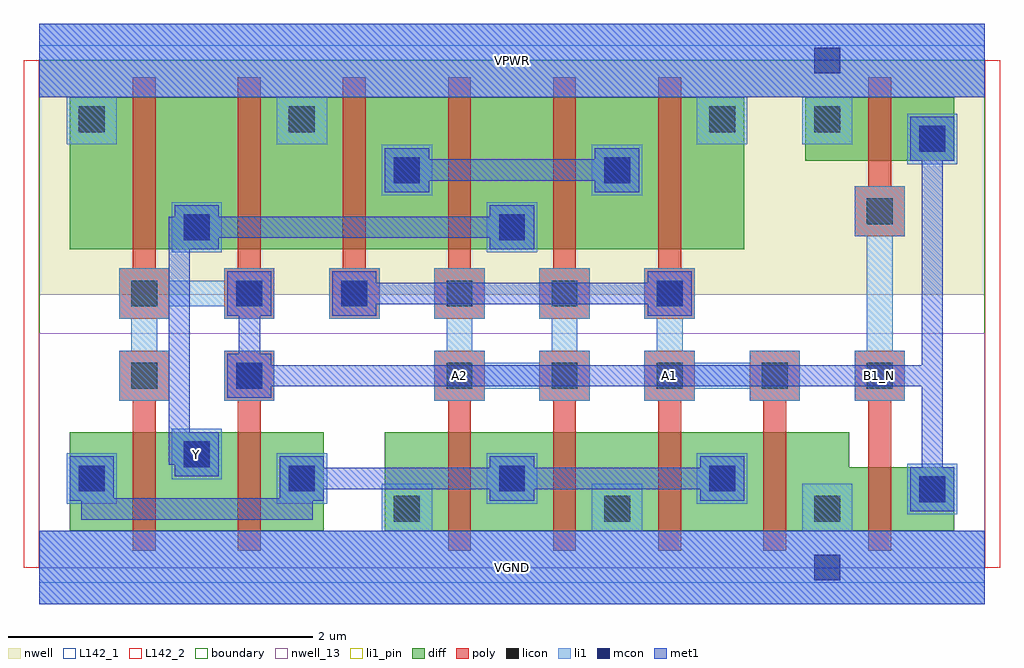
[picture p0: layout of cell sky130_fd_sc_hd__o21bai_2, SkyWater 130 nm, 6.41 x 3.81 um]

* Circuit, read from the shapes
.subckt sky130_fd_sc_hd__o21bai_2 A1 A2 B1_N VGND VPWR Y
XM1 Y n1 n2 VSUBS sky130_fd_pr__nfet_01v8 w=0.65 l=0.15 m=2
XM2 n2 A2 VGND VSUBS sky130_fd_pr__nfet_01v8 w=0.65 l=0.15 m=2
XM3 n2 A1 VGND VSUBS sky130_fd_pr__nfet_01v8 w=0.65 l=0.15 m=2
XM4 n1 B1_N VGND VSUBS sky130_fd_pr__nfet_01v8 w=0.42 l=0.15
XM5 Y n1 VPWR n3 sky130_fd_pr__pfet_01v8 w=1 l=0.15 m=2
XM6 n4 A1 VPWR n3 sky130_fd_pr__pfet_01v8 w=1 l=0.15 m=2
XM7 Y A2 n4 n3 sky130_fd_pr__pfet_01v8 w=1 l=0.15 m=2
XM8 n1 B1_N VPWR n3 sky130_fd_pr__pfet_01v8 w=0.42 l=0.15
.ends

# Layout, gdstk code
import gdstk
lib = gdstk.Library(unit=1e-6, precision=1e-09)
def R(c, l, rs):  # rectangles x0, y0, x1, y1
    for r in rs: c.add(gdstk.rectangle(r[:2], r[2:], *l))
def A(c, l, x, y, w, h, nx, ny, dx, dy):  # array of equal rectangles
    R(c, l, [(x+i*dx, y+j*dy, x+i*dx+w, y+j*dy+h) for i in range(nx) for j in range(ny)])
def P(c, l, *ps):  # polygons
    for p in ps: c.add(gdstk.Polygon(p, *l))
nwell_13 = (64, 13)
nwell = (64, 20)
diff = (65, 20)
poly = (66, 20)
licon = (66, 44)
li1_pin = (67, 16)
li1 = (67, 20)
mcon = (67, 44)
met1 = (68, 20)
L142_1 = (142, 1)
L142_2 = (142, 2)
boundary = (235, 4)

sky130_fd_sc_hd__o21bai_ = lib.new_cell('sky130_fd_sc_hd__o21bai_2')
R(sky130_fd_sc_hd__o21bai_, nwell_13, [(0,0,6.21,1.54)])
R(sky130_fd_sc_hd__o21bai_, nwell, [(0,1.79,6.21,3.33)])
A(sky130_fd_sc_hd__o21bai_, diff, 2.685, 0.24, 0.69, 0.65, 3, 1, 0.69, 0)
A(sky130_fd_sc_hd__o21bai_, diff, 0.615, 2.09, 0.69, 1, 5, 1, 0.69, 0)
R(sky130_fd_sc_hd__o21bai_, diff, [(0.2,0.24,1.87,0.89), (0.2,0.24,0.615,0.89), (0.615,0.24,1.305,0.89), (1.305,0.24,1.87,0.89), (2.27,0.24,2.685,0.89), (5.445,0.24,6.01,0.66), (0.2,2.09,4.63,3.09), (0.2,2.09,0.615,3.09), (4.065,2.09,4.63,3.09), (5.03,2.67,6.01,3.09), (5.03,2.67,5.445,3.09), (5.445,2.67,6.01,3.09)])
P(sky130_fd_sc_hd__o21bai_, diff, [(2.27,0.24),(2.27,0.89),(5.32,0.89),(5.32,0.66),(6.01,0.66),(6.01,0.24)],
  [(4.755,0.24),(4.755,0.89),(5.32,0.89),(5.32,0.66),(5.445,0.66),(5.445,0.24)])
P(sky130_fd_sc_hd__o21bai_, poly, [(5.445,0.11),(5.445,1.095),(5.355,1.095),(5.355,1.425),(5.685,1.425),(5.685,1.095),(5.595,1.095),(5.595,0.11)],
  [(5.355,2.175),(5.355,2.505),(5.445,2.505),(5.445,3.22),(5.595,3.22),(5.595,2.505),(5.685,2.505),(5.685,2.175)],
  [(2.685,0.11),(2.685,1.095),(2.595,1.095),(2.595,1.425),(2.925,1.425),(2.925,1.095),(2.835,1.095),(2.835,0.11)],
  [(3.375,0.11),(3.375,1.095),(3.285,1.095),(3.285,1.425),(3.615,1.425),(3.615,1.095),(3.525,1.095),(3.525,0.11)],
  [(2.595,1.635),(2.595,1.965),(2.685,1.965),(2.685,3.22),(2.835,3.22),(2.835,1.965),(2.925,1.965),(2.925,1.635)],
  [(3.285,1.635),(3.285,1.965),(3.375,1.965),(3.375,3.22),(3.525,3.22),(3.525,1.965),(3.615,1.965),(3.615,1.635)],
  [(4.065,0.11),(4.065,1.095),(3.975,1.095),(3.975,1.425),(4.305,1.425),(4.305,1.095),(4.215,1.095),(4.215,0.11)],
  [(4.755,0.11),(4.755,1.095),(4.665,1.095),(4.665,1.425),(4.995,1.425),(4.995,1.095),(4.905,1.095),(4.905,0.11)],
  [(1.905,1.635),(1.905,1.965),(1.995,1.965),(1.995,3.22),(2.145,3.22),(2.145,1.965),(2.235,1.965),(2.235,1.635)],
  [(3.975,1.635),(3.975,1.965),(4.065,1.965),(4.065,3.22),(4.215,3.22),(4.215,1.965),(4.305,1.965),(4.305,1.635)],
  [(0.615,0.11),(0.615,1.095),(0.525,1.095),(0.525,1.425),(0.855,1.425),(0.855,1.095),(0.765,1.095),(0.765,0.11)],
  [(1.305,0.11),(1.305,1.095),(1.215,1.095),(1.215,1.425),(1.545,1.425),(1.545,1.095),(1.455,1.095),(1.455,0.11)],
  [(0.525,1.635),(0.525,1.965),(0.615,1.965),(0.615,3.22),(0.765,3.22),(0.765,1.965),(0.855,1.965),(0.855,1.635)],
  [(1.215,1.635),(1.215,1.965),(1.305,1.965),(1.305,3.22),(1.455,3.22),(1.455,1.965),(1.545,1.965),(1.545,1.635)])
A(sky130_fd_sc_hd__o21bai_, licon, 2.33, 0.3, 0.17, 0.17, 3, 1, 1.38, 0)
A(sky130_fd_sc_hd__o21bai_, licon, 0.26, 0.5, 0.17, 0.17, 4, 1, 1.38, 0)
A(sky130_fd_sc_hd__o21bai_, licon, 2.675, 1.175, 0.17, 0.17, 5, 1, 0.69, 0)
A(sky130_fd_sc_hd__o21bai_, licon, 0.605, 1.715, 0.17, 0.17, 6, 1, 0.69, 0)
R(sky130_fd_sc_hd__o21bai_, licon, [(5.78,0.43,5.95,0.6), (0.95,0.66,1.12,0.83), (0.605,1.175,0.775,1.345), (1.295,1.175,1.465,1.345), (0.95,2.15,1.12,2.32), (3.02,2.15,3.19,2.32), (5.435,2.255,5.605,2.425), (2.33,2.525,2.5,2.695), (3.71,2.525,3.88,2.695), (5.78,2.73,5.95,2.9), (0.26,2.86,0.43,3.03), (1.64,2.86,1.81,3.03), (4.4,2.86,4.57,3.03), (5.09,2.86,5.26,3.03)])
R(sky130_fd_sc_hd__o21bai_, li1_pin, [(0,-0.24,6.21,0.24), (0.87,0.58,1.2,0.91), (0,3.09,6.21,3.57)])
P(sky130_fd_sc_hd__o21bai_, li1_pin, [(2.595,1.095),(2.595,1.425),(2.675,1.425),(2.675,1.635),(2.595,1.635),(2.595,1.965),(2.925,1.965),(2.925,1.635),(2.845,1.635),(2.845,1.425),(2.925,1.425),(2.925,1.345),(3.285,1.345),(3.285,1.425),(3.365,1.425),(3.365,1.635),(3.285,1.635),(3.285,1.965),(3.615,1.965),(3.615,1.635),(3.535,1.635),(3.535,1.425),(3.615,1.425),(3.615,1.095),(3.285,1.095),(3.285,1.175),(2.925,1.175),(2.925,1.095)],
  [(5.355,1.095),(5.355,1.425),(5.435,1.425),(5.435,2.175),(5.355,2.175),(5.355,2.505),(5.685,2.505),(5.685,2.175),(5.605,2.175),(5.605,1.425),(5.685,1.425),(5.685,1.095)],
  [(3.975,1.095),(3.975,1.425),(4.055,1.425),(4.055,1.635),(3.975,1.635),(3.975,1.965),(4.305,1.965),(4.305,1.635),(4.225,1.635),(4.225,1.425),(4.305,1.425),(4.305,1.345),(4.665,1.345),(4.665,1.425),(4.995,1.425),(4.995,1.095),(4.665,1.095),(4.665,1.175),(4.305,1.175),(4.305,1.095)])
A(sky130_fd_sc_hd__o21bai_, li1, 0.18, 0.42, 0.33, 0.33, 4, 1, 1.38, 0)
R(sky130_fd_sc_hd__o21bai_, li1, [(5.7,0.35,6.03,0.68), (0.87,0.58,1.2,0.91), (1.215,1.095,1.545,1.425), (1.905,1.635,2.235,1.965), (0.87,2.07,1.2,2.4), (2.94,2.07,3.27,2.4), (2.25,2.445,2.58,2.775), (3.63,2.445,3.96,2.775), (5.7,2.65,6.03,2.98)])
P(sky130_fd_sc_hd__o21bai_, li1, [(5.355,1.095),(5.355,1.425),(5.435,1.425),(5.435,2.175),(5.355,2.175),(5.355,2.505),(5.685,2.505),(5.685,2.175),(5.605,2.175),(5.605,1.425),(5.685,1.425),(5.685,1.095)],
  [(2.595,1.095),(2.595,1.425),(2.675,1.425),(2.675,1.635),(2.595,1.635),(2.595,1.965),(2.925,1.965),(2.925,1.635),(2.845,1.635),(2.845,1.425),(2.925,1.425),(2.925,1.345),(3.285,1.345),(3.285,1.425),(3.365,1.425),(3.365,1.635),(3.285,1.635),(3.285,1.965),(3.615,1.965),(3.615,1.635),(3.535,1.635),(3.535,1.425),(3.615,1.425),(3.615,1.095),(3.285,1.095),(3.285,1.175),(2.925,1.175),(2.925,1.095)],
  [(0.18,2.78),(0.18,3.09),(0,3.09),(0,3.57),(6.21,3.57),(6.21,3.09),(5.34,3.09),(5.34,2.78),(5.01,2.78),(5.01,3.09),(4.65,3.09),(4.65,2.78),(4.32,2.78),(4.32,3.09),(1.89,3.09),(1.89,2.78),(1.56,2.78),(1.56,3.09),(0.51,3.09),(0.51,2.78)],
  [(3.975,1.095),(3.975,1.425),(4.055,1.425),(4.055,1.635),(3.975,1.635),(3.975,1.965),(4.305,1.965),(4.305,1.635),(4.225,1.635),(4.225,1.425),(4.305,1.425),(4.305,1.345),(4.665,1.345),(4.665,1.425),(4.995,1.425),(4.995,1.095),(4.665,1.095),(4.665,1.175),(4.305,1.175),(4.305,1.095)],
  [(0,-0.24),(0,0.24),(2.25,0.24),(2.25,0.55),(2.58,0.55),(2.58,0.24),(3.63,0.24),(3.63,0.55),(3.96,0.55),(3.96,0.24),(5.01,0.24),(5.01,0.55),(5.34,0.55),(5.34,0.24),(6.21,0.24),(6.21,-0.24)],
  [(0.525,1.095),(0.525,1.425),(0.605,1.425),(0.605,1.635),(0.525,1.635),(0.525,1.965),(0.855,1.965),(0.855,1.885),(1.215,1.885),(1.215,1.965),(1.545,1.965),(1.545,1.635),(1.215,1.635),(1.215,1.715),(0.855,1.715),(0.855,1.635),(0.775,1.635),(0.775,1.425),(0.855,1.425),(0.855,1.095)])
A(sky130_fd_sc_hd__o21bai_, mcon, 0.26, 0.5, 0.17, 0.17, 4, 1, 1.38, 0)
R(sky130_fd_sc_hd__o21bai_, mcon, [(5.09,-0.085,5.26,0.085), (5.78,0.43,5.95,0.6), (0.95,0.66,1.12,0.83), (1.295,1.175,1.465,1.345), (1.295,1.715,1.465,1.885), (1.985,1.715,2.155,1.885), (4.055,1.715,4.225,1.885), (0.95,2.15,1.12,2.32), (3.02,2.15,3.19,2.32), (2.33,2.525,2.5,2.695), (3.71,2.525,3.88,2.695), (5.78,2.73,5.95,2.9), (5.09,3.245,5.26,3.415)])
R(sky130_fd_sc_hd__o21bai_, met1, [(0,-0.24,6.21,0.24), (0,3.09,6.21,3.57)])
P(sky130_fd_sc_hd__o21bai_, met1, [(0.89,0.6),(0.89,0.675),(0.85,0.675),(0.85,2.305),(0.89,2.305),(0.89,2.38),(1.18,2.38),(1.18,2.305),(2.96,2.305),(2.96,2.38),(3.25,2.38),(3.25,2.09),(2.96,2.09),(2.96,2.165),(1.18,2.165),(1.18,2.09),(0.99,2.09),(0.99,0.89),(1.18,0.89),(1.18,0.6)],
  [(1.925,1.655),(1.925,1.945),(2.215,1.945),(2.215,1.87),(3.995,1.87),(3.995,1.945),(4.285,1.945),(4.285,1.655),(3.995,1.655),(3.995,1.73),(2.215,1.73),(2.215,1.655)],
  [(2.27,2.465),(2.27,2.755),(2.56,2.755),(2.56,2.68),(3.65,2.68),(3.65,2.755),(3.94,2.755),(3.94,2.465),(3.65,2.465),(3.65,2.54),(2.56,2.54),(2.56,2.465)],
  [(0.275,0.315),(0.275,0.44),(0.2,0.44),(0.2,0.73),(0.49,0.73),(0.49,0.455),(1.58,0.455),(1.58,0.73),(1.87,0.73),(1.87,0.655),(2.96,0.655),(2.96,0.73),(3.25,0.73),(3.25,0.655),(4.34,0.655),(4.34,0.73),(4.63,0.73),(4.63,0.44),(4.34,0.44),(4.34,0.515),(3.25,0.515),(3.25,0.44),(2.96,0.44),(2.96,0.515),(1.87,0.515),(1.87,0.44),(1.795,0.44),(1.795,0.315)],
  [(5.72,0.37),(5.72,0.66),(5.795,0.66),(5.795,1.19),(1.525,1.19),(1.525,1.115),(1.235,1.115),(1.235,1.405),(1.31,1.405),(1.31,1.655),(1.235,1.655),(1.235,1.945),(1.525,1.945),(1.525,1.655),(1.45,1.655),(1.45,1.405),(1.525,1.405),(1.525,1.33),(5.795,1.33),(5.795,2.67),(5.72,2.67),(5.72,2.96),(6.01,2.96),(6.01,2.67),(5.935,2.67),(5.935,0.66),(6.01,0.66),(6.01,0.37)])
R(sky130_fd_sc_hd__o21bai_, L142_1, [(0,-0.1,6.21,0), (0,3.33,6.21,3.43)])
R(sky130_fd_sc_hd__o21bai_, L142_2, [(-0.1,0,0,3.33), (6.21,0,6.31,3.33)])
R(sky130_fd_sc_hd__o21bai_, boundary, [(0,0,6.21,3.33)])
sky130_fd_sc_hd__o21bai_.add(gdstk.Label('Y', (1.035,0.745), layer=67, texttype=5))
sky130_fd_sc_hd__o21bai_.add(gdstk.Label('A2', (2.76,1.26), layer=67, texttype=5))
sky130_fd_sc_hd__o21bai_.add(gdstk.Label('B1_N', (5.52,1.26), layer=67, texttype=5))
sky130_fd_sc_hd__o21bai_.add(gdstk.Label('A1', (4.14,1.26), layer=67, texttype=5))
sky130_fd_sc_hd__o21bai_.add(gdstk.Label('VGND', (3.105,0), layer=67, texttype=5))
sky130_fd_sc_hd__o21bai_.add(gdstk.Label('VPWR', (3.105,3.33), layer=67, texttype=5))
sky130_fd_sc_hd__o21bai_.add(gdstk.Label('VGND', (3.105,0), layer=68, texttype=5))
sky130_fd_sc_hd__o21bai_.add(gdstk.Label('VPWR', (3.105,3.33), layer=68, texttype=5))

lib.write_gds('sky130_fd_sc_hd__o21bai_2.gds')
